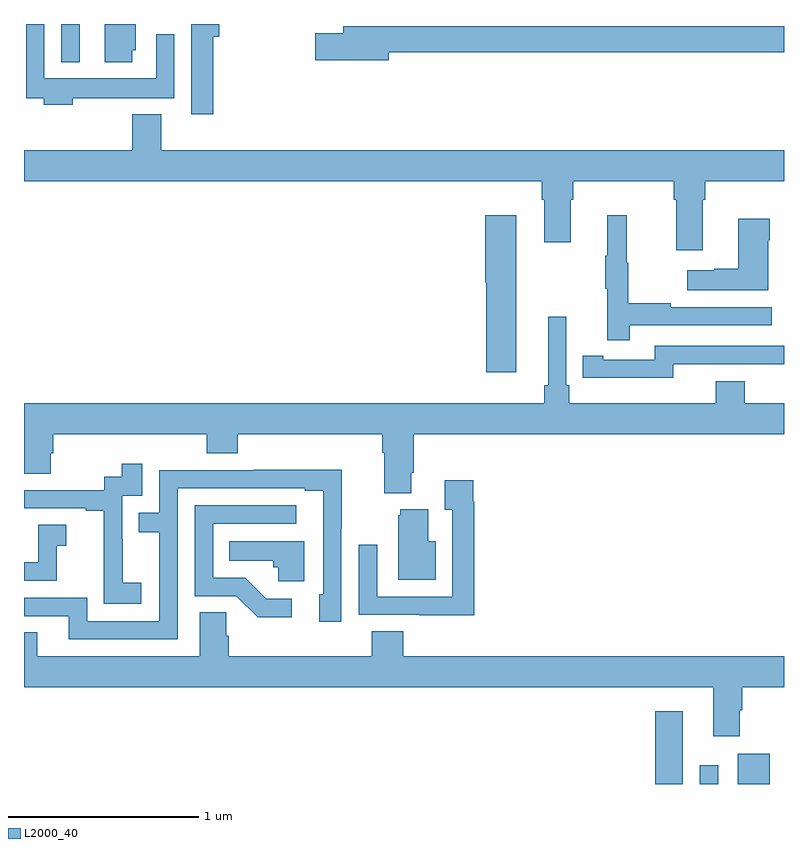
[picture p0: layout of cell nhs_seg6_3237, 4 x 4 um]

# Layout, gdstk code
import gdstk
lib = gdstk.Library(unit=1e-6, precision=1e-09)
def R(c, l, rs):  # rectangles x0, y0, x1, y1
    for r in rs: c.add(gdstk.rectangle(r[:2], r[2:], *l))
def P(c, l, *ps):  # polygons
    for p in ps: c.add(gdstk.Polygon(p, *l))
L2000_40 = (2000, 40)

nhs_seg6_3237 = lib.new_cell('nhs_seg6_3237')
R(nhs_seg6_3237, L2000_40, [(304.322,941.5,304.468,941.884), (304.557,941.5,304.653,941.599), (304.757,941.5,304.924,941.659), (301.197,945.299,301.294,945.5)])
P(nhs_seg6_3237, L2000_40, [(301.57,945.363),(301.588,945.363),(301.588,945.5),(301.424,945.5),(301.424,945.3),(301.57,945.3)],
  [(301.997,945.434),(302.027,945.434),(302.027,945.5),(301.881,945.5),(301.881,945.024),(301.997,945.024)],
  [(301.256,945.108),(301.487,945.108),(301.487,945.11),(301.791,945.11),(301.791,945.445),(301.695,945.445),(301.695,945.214),(301.107,945.214),(301.107,945.5),(301.011,945.5),(301.011,945.108),(301.103,945.108),(301.103,945.074),(301.256,945.074)],
  [(302.92,945.352),(305,945.352),(305,945.488),(302.681,945.488),(302.681,945.452),(302.532,945.452),(302.532,945.31),(302.92,945.31)],
  [(304.573,944.576),(304.586,944.576),(304.586,944.672),(305,944.672),(305,944.836),(301.723,944.836),(301.723,945.025),(301.571,945.025),(301.571,944.836),(301,944.836),(301,944.672),(303.725,944.672),(303.725,944.576),(303.737,944.576),(303.737,944.352),(303.877,944.352),(303.877,944.576),(303.89,944.576),(303.89,944.672),(304.421,944.672),(304.421,944.576),(304.433,944.576),(304.433,944.31),(304.573,944.31)],
  [(303.592,944.494),(303.428,944.494),(303.428,944.142),(303.434,944.142),(303.434,943.668),(303.592,943.668)],
  [(304.187,943.914),(304.936,943.914),(304.936,944.01),(304.403,944.01),(304.403,944.03),(304.18,944.03),(304.18,944.244),(304.172,944.244),(304.172,944.494),(304.07,944.494),(304.07,944.281),(304.059,944.281),(304.059,944.107),(304.07,944.107),(304.07,943.836),(304.187,943.836)],
  [(304.918,944.363),(304.926,944.363),(304.926,944.476),(304.76,944.476),(304.76,944.213),(304.634,944.213),(304.634,944.203),(304.491,944.203),(304.491,944.099),(304.918,944.099)],
  [(301,943.132),(301.141,943.132),(301.141,943.242),(301.154,943.242),(301.154,943.34),(301.961,943.34),(301.961,943.241),(302.126,943.241),(302.126,943.34),(302.885,943.34),(302.885,943.244),(302.897,943.244),(302.897,943.031),(303.037,943.031),(303.037,943.138),(303.05,943.138),(303.05,943.34),(305,943.34),(305,943.504),(304.793,943.504),(304.793,943.621),(304.64,943.621),(304.64,943.504),(303.869,943.504),(303.869,943.6),(303.855,943.6),(303.855,943.96),(303.758,943.96),(303.758,943.6),(303.739,943.6),(303.739,943.504),(301,943.504)],
  [(304.416,943.71),(304.876,943.71),(304.876,943.709),(305,943.709),(305,943.806),(304.32,943.806),(304.32,943.734),(304.048,943.734),(304.048,943.754),(303.94,943.754),(303.94,943.638),(304.048,943.638),(304.048,943.637),(304.416,943.637)],
  [(301.618,942.559),(301.52,942.559),(301.52,942.788),(301.518,942.788),(301.518,943.017),(301.623,943.017),(301.623,943.186),(301.515,943.186),(301.515,943.116),(301.422,943.116),(301.422,943.047),(301,943.047),(301,942.951),(301.325,942.951),(301.325,942.939),(301.421,942.939),(301.421,942.655),(301.42,942.655),(301.42,942.449),(301.618,942.449)],
  [(301.809,943.056),(302.477,943.056),(302.477,943.044),(302.574,943.044),(302.574,942.498),(302.555,942.498),(302.555,942.354),(302.67,942.354),(302.67,942.847),(302.673,942.847),(302.673,943.154),(302.209,943.154),(302.209,943.152),(301.713,943.152),(301.713,942.927),(301.603,942.927),(301.603,942.826),(301.713,942.826),(301.713,942.357),(301.332,942.357),(301.332,942.48),(301,942.48),(301,942.384),(301.235,942.384),(301.235,942.261),(301.809,942.261)],
  [(303.371,942.986),(303.364,942.986),(303.364,943.099),(303.215,943.099),(303.215,942.943),(303.255,942.943),(303.255,942.486),(302.859,942.486),(302.859,942.76),(302.763,942.76),(302.763,942.39),(303.079,942.39),(303.079,942.389),(303.371,942.389)],
  [(302.41,942.474),(302.275,942.474),(302.164,942.585),(301.995,942.585),(301.995,942.87),(302.434,942.87),(302.434,942.966),(301.899,942.966),(301.899,942.489),(302.118,942.489),(302.231,942.377),(302.41,942.377)],
  [(303.166,942.778),(303.127,942.778),(303.127,942.946),(302.981,942.946),(302.981,942.915),(302.969,942.915),(302.969,942.575),(303.166,942.575)],
  [(301.173,942.755),(301.222,942.755),(301.222,942.865),(301.074,942.865),(301.074,942.666),(301,942.666),(301,942.57),(301.173,942.57)],
  [(302.476,942.778),(302.08,942.778),(302.08,942.674),(302.311,942.674),(302.311,942.642),(302.337,942.642),(302.337,942.566),(302.476,942.566)],
  [(304.768,941.888),(304.781,941.888),(304.781,942.008),(305,942.008),(305,942.172),(302.996,942.172),(302.996,942.305),(302.831,942.305),(302.831,942.172),(302.078,942.172),(302.078,942.281),(302.064,942.281),(302.064,942.404),(301.925,942.404),(301.925,942.172),(301.069,942.172),(301.069,942.299),(301,942.299),(301,942.008),(304.628,942.008),(304.628,941.751),(304.768,941.751)])

lib.write_gds('nhs_seg6_3237.gds')
